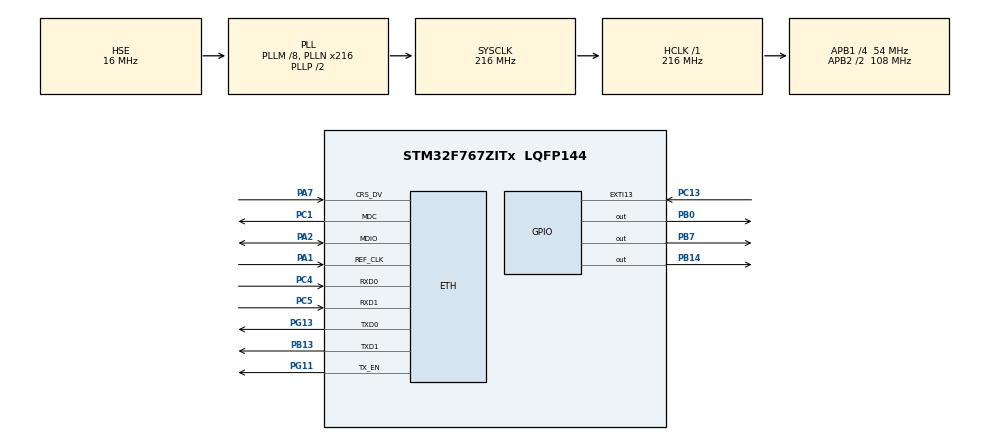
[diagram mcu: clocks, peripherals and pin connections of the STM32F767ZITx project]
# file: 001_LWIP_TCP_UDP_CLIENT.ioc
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ETH.MediaInterface=ETH_MEDIA_INTERFACE_RMII
ETH.PhyAddress=0
FREERTOS.Tasks01=defaultTask,1,1024,StartDefaultTask,Default,NULL,Dynamic,NULL,NULL
LWIP.IP_ADDRESS=192.168.000.010
LWIP.LWIP_DHCP=0
LWIP.MEM_SIZE=16384
LWIP.NETMASK_ADDRESS=255.255.255.000
LWIP.Version=v2.1.2_Cube
Mcu.Family=STM32F7
Mcu.Name=STM32F767ZITx
Mcu.Package=LQFP144
NVIC.ETH_IRQn=true\:5\:0\:false\:false\:true\:true\:false\:true
NVIC.EXTI15_10_IRQn=true\:5\:0\:false\:false\:true\:true\:true\:true
NVIC.PriorityGroup=NVIC_PRIORITYGROUP_4
NVIC.TIM1_UP_TIM10_IRQn=true\:15\:0\:false\:false\:true\:false\:false\:true
NVIC.TimeBase=TIM1_UP_TIM10_IRQn
NVIC.TimeBaseIP=TIM1
PA1.Mode=RMII
PA1.Signal=ETH_REF_CLK
PA2.Mode=RMII
PA2.Signal=ETH_MDIO
PA7.Mode=RMII
PA7.Signal=ETH_CRS_DV
PB0.Signal=GPIO_Output
PB13.Mode=RMII
PB13.Signal=ETH_TXD1
PB14.Signal=GPIO_Output
PB7.Signal=GPIO_Output
PC1.Mode=RMII
PC1.Signal=ETH_MDC
PC13.Signal=GPXTI13
PC4.Mode=RMII
PC4.Signal=ETH_RXD0
PC5.Mode=RMII
PC5.Signal=ETH_RXD1
PG11.Mode=RMII
PG11.Signal=ETH_TX_EN
PG13.Mode=RMII
PG13.Signal=ETH_TXD0
PH0/OSC_IN.Mode=HSE-External-Oscillator
PH0/OSC_IN.Signal=RCC_OSC_IN
PH1/OSC_OUT.Mode=HSE-External-Oscillator
PH1/OSC_OUT.Signal=RCC_OSC_OUT
ProjectManager.HeapSize=0x2000
ProjectManager.StackSize=0x4000
ProjectManager.TargetToolchain=TrueSTUDIO
RCC.48MHZClocksFreq_Value=24000000
RCC.AHBFreq_Value=216000000
RCC.APB1CLKDivider=RCC_HCLK_DIV4
RCC.APB1Freq_Value=54000000
RCC.APB1TimFreq_Value=108000000
RCC.APB2CLKDivider=RCC_HCLK_DIV2
RCC.APB2Freq_Value=108000000
RCC.APB2TimFreq_Value=216000000
RCC.CortexFreq_Value=216000000
RCC.HCLKFreq_Value=216000000
RCC.HSE_VALUE=16000000
RCC.HSI_VALUE=16000000
RCC.LSE_VALUE=32768
RCC.PLLM=8
RCC.PLLMUL=RCC_PLL_MUL9
RCC.PLLN=216
RCC.PLLSourceVirtual=RCC_PLLSOURCE_HSE
RCC.PRESCALERUSB=RCC_USBCLKSOURCE_PLL_DIV1_5
RCC.SYSCLKFreq_VALUE=216000000
RCC.SYSCLKSource=RCC_SYSCLKSOURCE_PLLCLK
RCC.SYSCLKSourceVirtual=RCC_SYSCLKSOURCE_PLLCLK
RCC.USBFreq_Value=216000000
RCC.VCOOutputFreq_Value=432000000
VP_FREERTOS_VS_CMSIS_V1.Mode=CMSIS_V1
VP_LWIP_VS_Enabled.Mode=Enabled
VP_SYS_VS_tim1.Mode=TIM1
board=NUCLEO-F767ZI

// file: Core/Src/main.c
/* USER CODE BEGIN Header */
/**
  ******************************************************************************
  * @file           : main.c
  * @brief          : Main program body
  ******************************************************************************
  * @attention
  *
  * <h2><center>&copy; Copyright (c) 2021 STMicroelectronics.
  * All rights reserved.</center></h2>
  *
  * This software component is licensed by ST under Ultimate Liberty license
  * SLA0044, the "License"; You may not use this file except in compliance with
  * the License. You may obtain a copy of the License at:
  *                             www.st.com/SLA0044
  *
  ******************************************************************************
  */
/* USER CODE END Header */
#include "main.h"
#include "cmsis_os.h"
#include "lwip.h"

/* USER CODE BEGIN Includes */
#include "lwip/sys.h"
#include "lwip/sockets.h"

/* USER CODE END Includes */

/* USER CODE BEGIN PD */
#define MYPORT 5000
#define BACKLOG 5
/* USER CODE END PD */

osThreadId defaultTaskHandle;
/* USER CODE BEGIN PV */
char buffer;
int bytes;
int err;
int sockfd;
int new_fd;
int count;
char result;
int addr_size;
/* USER CODE END PV */

void SystemClock_Config(void);
static void MX_GPIO_Init(void);
void StartDefaultTask(void const * argument);

int main(void)
{

  /* MCU Configuration--------------------------------------------------------*/

  /* Reset of all peripherals, Initializes the Flash interface and the Systick. */
  HAL_Init();

  /* Configure the system clock */
  SystemClock_Config();

  /* Initialize all configured peripherals */
  MX_GPIO_Init();

  /* Create the thread(s) */
  /* definition and creation of defaultTask */
  osThreadDef(defaultTask, StartDefaultTask, osPriorityAboveNormal, 0, 1024);
  defaultTaskHandle = osThreadCreate(osThread(defaultTask), NULL);

  /* Start scheduler */
  osKernelStart();

  /* We should never get here as control is now taken by the scheduler */
  /* Infinite loop */
  while (1)
  {

  }
}

void SystemClock_Config(void)
{
  RCC_OscInitTypeDef RCC_OscInitStruct = {0};
  RCC_ClkInitTypeDef RCC_ClkInitStruct = {0};

  /** Configure the main internal regulator output voltage
  */
  __HAL_RCC_PWR_CLK_ENABLE();
  __HAL_PWR_VOLTAGESCALING_CONFIG(PWR_REGULATOR_VOLTAGE_SCALE1);
  /** Initializes the RCC Oscillators according to the specified parameters
  * in the RCC_OscInitTypeDef structure.
  */
  RCC_OscInitStruct.OscillatorType = RCC_OSCILLATORTYPE_HSE;
  RCC_OscInitStruct.HSEState = RCC_HSE_ON;
  RCC_OscInitStruct.PLL.PLLState = RCC_PLL_ON;
  RCC_OscInitStruct.PLL.PLLSource = RCC_PLLSOURCE_HSE;
  RCC_OscInitStruct.PLL.PLLM = 8;
  RCC_OscInitStruct.PLL.PLLN = 216;
  RCC_OscInitStruct.PLL.PLLP = RCC_PLLP_DIV2;
  RCC_OscInitStruct.PLL.PLLQ = 2;
  RCC_OscInitStruct.PLL.PLLR = 2;
  if (HAL_RCC_OscConfig(&RCC_OscInitStruct) != HAL_OK)
  {
    Error_Handler();
  }
  /** Activate the Over-Drive mode
  */
  if (HAL_PWREx_EnableOverDrive() != HAL_OK)
  {
    Error_Handler();
  }
  /** Initializes the CPU, AHB and APB buses clocks
  */
  RCC_ClkInitStruct.ClockType = RCC_CLOCKTYPE_HCLK|RCC_CLOCKTYPE_SYSCLK
                              |RCC_CLOCKTYPE_PCLK1|RCC_CLOCKTYPE_PCLK2;
  RCC_ClkInitStruct.SYSCLKSource = RCC_SYSCLKSOURCE_PLLCLK;
  RCC_ClkInitStruct.AHBCLKDivider = RCC_SYSCLK_DIV1;
  RCC_ClkInitStruct.APB1CLKDivider = RCC_HCLK_DIV4;
  RCC_ClkInitStruct.APB2CLKDivider = RCC_HCLK_DIV2;

  if (HAL_RCC_ClockConfig(&RCC_ClkInitStruct, FLASH_LATENCY_7) != HAL_OK)
  {
    Error_Handler();
  }
}

static void MX_GPIO_Init(void)
{
  GPIO_InitTypeDef GPIO_InitStruct = {0};

  /* GPIO Ports Clock Enable */
  __HAL_RCC_GPIOC_CLK_ENABLE();
  __HAL_RCC_GPIOH_CLK_ENABLE();
  __HAL_RCC_GPIOA_CLK_ENABLE();
  __HAL_RCC_GPIOB_CLK_ENABLE();
  __HAL_RCC_GPIOG_CLK_ENABLE();

  /*Configure GPIO pin Output Level */
  HAL_GPIO_WritePin(GPIOB, GPIO_PIN_0|GPIO_PIN_14|GPIO_PIN_7, GPIO_PIN_RESET);

  /*Configure GPIO pin : PC13 */
  GPIO_InitStruct.Pin = GPIO_PIN_13;
  GPIO_InitStruct.Mode = GPIO_MODE_IT_RISING;
  GPIO_InitStruct.Pull = GPIO_NOPULL;
  HAL_GPIO_Init(GPIOC, &GPIO_InitStruct);

  /*Configure GPIO pins : PB0 PB14 PB7 */
  GPIO_InitStruct.Pin = GPIO_PIN_0|GPIO_PIN_14|GPIO_PIN_7;
  GPIO_InitStruct.Mode = GPIO_MODE_OUTPUT_PP;
  GPIO_InitStruct.Pull = GPIO_NOPULL;
  GPIO_InitStruct.Speed = GPIO_SPEED_FREQ_LOW;
  HAL_GPIO_Init(GPIOB, &GPIO_InitStruct);

  /* EXTI interrupt init*/
  HAL_NVIC_SetPriority(EXTI15_10_IRQn, 5, 0);
  HAL_NVIC_EnableIRQ(EXTI15_10_IRQn);

}

/* USER CODE BEGIN 4 */
void tcp_server_task(void){

	addr_size = sizeof(struct sockaddr_in);

	struct sockaddr_in my_addr, their_addr;
	my_addr.sin_addr.s_addr = INADDR_ANY;
	my_addr.sin_family = AF_INET;
	my_addr.sin_port = htons(MYPORT);

	while(1){
		if((sockfd = socket(AF_INET, SOCK_STREAM, 0)) == -1){
	        perror("socket");
	        break;
		}
		if(bind(sockfd,(struct sockaddr *)&my_addr, sizeof(struct sockaddr)) == -1){
			perror("bind");
			break;
		}
		if(listen(sockfd, BACKLOG) == -1){
			perror("listen");
			break;
		}
		if((new_fd = accept(sockfd,(struct sockaddr *)&their_addr, (socklen_t *)&addr_size)) == -1){
			perror("accept");
			break;
		}
		while(1){
			if((bytes = recv(new_fd, &buffer, sizeof(buffer), 0)) == -1){
				perror("receive");
				continue;
			}
			if((int)buffer%3 == 1){
				HAL_GPIO_WritePin(GPIOB, GPIO_PIN_0, GPIO_PIN_SET);
				HAL_GPIO_WritePin(GPIOB, GPIO_PIN_7 | GPIO_PIN_14, GPIO_PIN_RESET);
			}
			else if((int)buffer%3 == 2){
				HAL_GPIO_WritePin(GPIOB, GPIO_PIN_7, GPIO_PIN_SET);
				HAL_GPIO_WritePin(GPIOB, GPIO_PIN_0 | GPIO_PIN_14, GPIO_PIN_RESET);
			}
			else if((int)buffer%3 == 0){
				HAL_GPIO_WritePin(GPIOB, GPIO_PIN_14, GPIO_PIN_SET);
				HAL_GPIO_WritePin(GPIOB, GPIO_PIN_0 | GPIO_PIN_7, GPIO_PIN_RESET);
			}
			if(send(new_fd, &result, sizeof(result), 0) == -1){
				perror("send");
				continue;
			}
		}
		close(new_fd);
		close(sockfd);
	}
}

int sendall(int s, char *buf, int *len)
{
    int total = 0;        // gönderdigimiz byte miktari
    int bytesleft = *len; // eksik kalan byte miktari
    int n;

    while(total < *len) {
        n = send(s, buf+total, bytesleft, 0);
        if (n == -1) { break; }
        total += n;
        bytesleft -= n;
    }

    *len = total; // gönderilen toplam bayt miktarý

    return n==-1?-1:0; // sorun varsa -1, iþlem tamamsa 0 döner
}
/* USER CODE END 4 */

void StartDefaultTask(void const * argument)
{
  /* init code for LWIP */
  MX_LWIP_Init();
  /* USER CODE BEGIN 5 */
  tcp_server_task();
  /* Infinite loop */
  for(;;)
  {
    osDelay(1);
  }
  /* USER CODE END 5 */
}

void HAL_TIM_PeriodElapsedCallback(TIM_HandleTypeDef *htim)
{
  if (htim->Instance == TIM1) {
    HAL_IncTick();
  }
}

void Error_Handler(void)
{
  __disable_irq();
  while (1)
  {
  }
}

/************************ (C) COPYRIGHT STMicroelectronics *****END OF FILE****/
